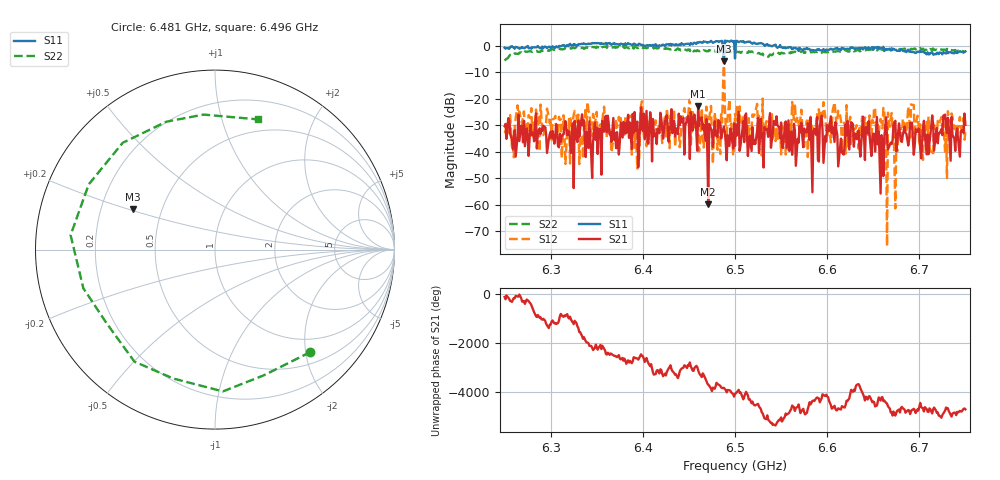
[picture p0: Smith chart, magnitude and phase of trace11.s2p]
# Hz S RI R 50
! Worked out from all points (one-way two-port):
!   401 points, 6.25 GHz to 6.75 GHz, reference 50 ohm
!   highest |S21| = -22.92 dB at 6.46 GHz (marker M1); lowest = -60.0 dB at 6.471 GHz (marker M2)
!   lowest |S11| = -5.8 dB at 6.488 GHz (marker M3), VSWR 3.09, Z = 16.9 + j10.3 ohm
!   |S11| at or under -10 dB: nowhere
!   |S22| runs from -5.6 to 0.0 dB; largest |S21 - S12| = 0.72
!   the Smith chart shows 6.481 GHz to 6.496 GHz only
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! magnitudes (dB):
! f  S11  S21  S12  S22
! 6.25 GHz  -0.7  -30.4  -32.9  -5.6
! 6.319 GHz  -0.2  -32.2  -33.2  -1.1
! 6.325 GHz  0.6  -53.8  -26.1  -0.7
! 6.334 GHz  0.8  -25.9  -34.0  -0.8
! 6.34 GHz  0.7  -34.1  -21.2  -0.7
! 6.368 GHz  0.9  -27.3  -35.2  -0.6
! 6.384 GHz  1.0  -26.1  -26.9  -0.7
! 6.394 GHz  0.4  -28.6  -46.4  -0.8
! 6.4 GHz  0.3  -32.2  -27.2  -0.9
! 6.418 GHz  0.2  -33.0  -30.8  -0.8
! 6.46 GHz  1.2  -22.9  -32.1  -2.0
! 6.471 GHz  1.3  -60.0  -34.3  -2.1
! 6.484 GHz  1.7  -29.2  -40.9  -2.0
! 6.488 GHz  -5.8  -30.6  -2.7  -2.7
! 6.5 GHz  -4.8  -37.8  -25.8  -2.6
! 6.584 GHz  -1.6  -55.4  -36.4  -2.4
! 6.66 GHz  -1.1  -36.5  -31.2  -1.5
! 6.662 GHz  -2.0  -34.7  -25.1  -1.4
! 6.668 GHz  -1.1  -37.5  -30.6  -1.3
! 6.691 GHz  -2.3  -31.0  -22.1  -1.1
! 6.714 GHz  -2.4  -26.3  -40.4  -1.5
! 6.75 GHz  -2.1  -29.9  -32.8  -2.2
